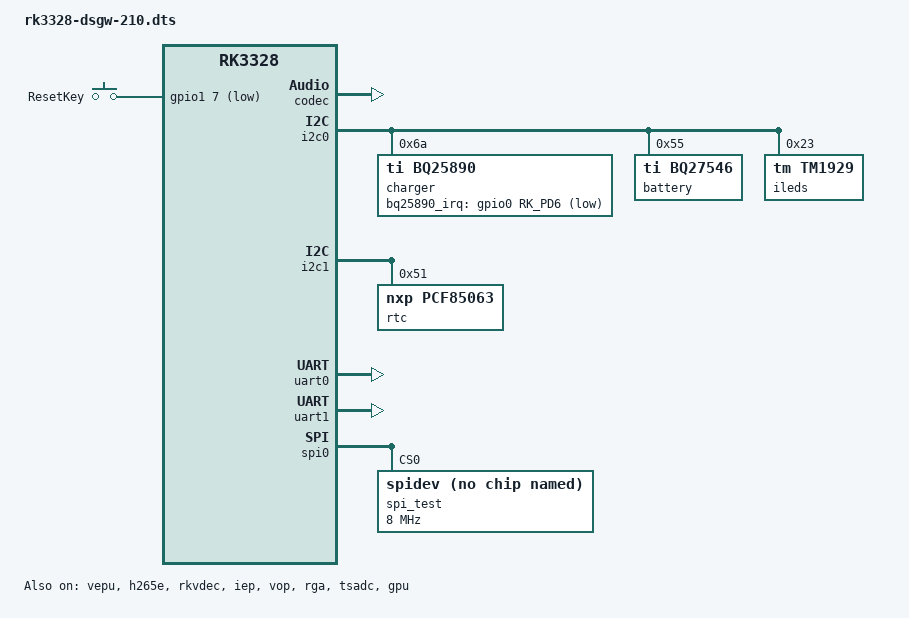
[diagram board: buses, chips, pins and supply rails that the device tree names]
#include "rk3328-evb.dts"

/ {
	chosen {
		bootargs = "rockchip_jtag earlyprintk=uart8250-32bit,0xff130000 swiotlb=1 kpti=0 console=ttyFIQ0 rw root=PARTUUID=614e0000-0000 rootfstype=ext4 rootwait systemd.gpt_auto=0 systemd.unified_cgroup_hierarchy=0 apparmor=1 security=apparmor lsm=lockdown,yama,apparmor";
	};

	/*
            5v_en {
                    compatible = "5v-en-gpio";
    //                3v3_power_en = <&gpio2 RK_PD2 GPIO_ACTIVE_HIGH>;
                    usb_5v_en = <&gpio3 RK_PA5 GPIO_ACTIVE_HIGH>;
                    usb_en = <&gpio3 RK_PA7 GPIO_ACTIVE_HIGH>;
                    hub_rst = <&gpio2 RK_PA3 GPIO_ACTIVE_HIGH>;
                    fan_open = <&gpio2 RK_PC4 GPIO_ACTIVE_HIGH>;
                    rp_not_deep_leep = <1>;
                    status = "okay";
            };
    */
	rp_gpio{
		status = "okay";
		compatible = "rp_gpio";
		/*
                        gpio0a0 {
                                gpio_num = <&gpio0 RK_PA0 GPIO_ACTIVE_LOW>;
                                gpio_function = <0>;            //0:output 1:input
                        };
        */
		gpio0a2 {
			gpio_num = <&gpio0 RK_PA2 GPIO_ACTIVE_HIGH>;
			gpio_function = <0>;            //0:output 1:input
		};

		// wifi power pin
		gpio1c2 {
			gpio_num = <&gpio1 RK_PC2 GPIO_ACTIVE_HIGH>;
			gpio_function = <0>;            //0:output 1:input
		};

		gpio1d1 {
			gpio_num = <&gpio1 RK_PD1 GPIO_ACTIVE_HIGH>;
			gpio_function = <0>;            //0:output 1:input
		};
		/*
                        gpioi0d6 {
                                gpio_num = <&gpio0 RK_PD6 GPIO_ACTIVE_LOW>;
                                gpio_function = <0>;            //0:output 1:input
                        };
        */
		/*
                        led {
                                gpio_num = <&gpio2 RK_PC5 GPIO_ACTIVE_HIGH>;
                                gpio_function = <3>;            //0:output 1:input
                        };
                        gpio2b7 {
                                gpio_num = <&gpio2 RK_PB7 GPIO_ACTIVE_HIGH>;
                                gpio_function = <0>;            //0:output 1:input
                        };
                        gpio2c2 {
                                gpio_num = <&gpio2 RK_PC2 GPIO_ACTIVE_HIGH>;
                                gpio_function = <0>;            //0:output 1:input
                        };
                        gpio2c1 {
                                gpio_num = <&gpio2 RK_PC1 GPIO_ACTIVE_HIGH>;
                                gpio_function = <0>;            //0:output 1:input
                        };
                        gpio2c0 {
                                gpio_num = <&gpio2 RK_PC0 GPIO_ACTIVE_HIGH>;
                                gpio_function = <0>;            //0:output 1:input
                        };
                        gpio2c7 {
                                gpio_num = <&gpio2 RK_PC7 GPIO_ACTIVE_HIGH>;
                                gpio_function = <0>;            //0:output 1:input
                        };
                        gpio2c6 {
                                gpio_num = <&gpio2 RK_PC6 GPIO_ACTIVE_HIGH>;
                                gpio_function = <0>;            //0:output 1:input
                        };
                        gpio2c3 {
                                gpio_num = <&gpio2 RK_PC3 GPIO_ACTIVE_HIGH>;
                                gpio_function = <0>;            //0:output 1:input
                                //gpio_event = <KEY_F14>;
                                //send_mode = <0>;
                        };
        */
	};
	/*
            sdpw:gpio-leds{
            compatible = "gpio-leds";

                    sdpower {
                gpios = <&gpio0 30 GPIO_ACTIVE_LOW>;
                label = "sdpower";
                default-state = "on";
            };
            };
    */

	keys: gpio-keys {
		compatible = "gpio-keys";

		button@0 {
			gpio-key,wakeup = <1>;
			gpios = <&gpio1 7 GPIO_ACTIVE_LOW>;
			label = "ResetKey";
			linux,code = <100>;
		};

		/*
                button@1 {
                    gpio-key,wakeup = <1>;
                    gpios = <&gpio3 0 GPIO_ACTIVE_LOW>;
                    label = "UserKey";
                    linux,code = <101>;
                    };
        */

	};

	/*
            rockchip_audio: rockchip_audio {
                    compatible = "rockchip,rk322xh-audio", "rockchip,rk322x-audio";
                    dais {
                            dai0 {
                                    audio-codec = <&codec>;
                                    audio-controller = <&i2s1>;
                                    format = "i2s";
                            };
                    };
            };

            hdmi-sound {
                    compatible = "simple-audio-card";
                    simple-audio-card,format = "i2s";
                    simple-audio-card,mclk-fs = <128>;
                    simple-audio-card,name = "rockchip,hdmi";
                    simple-audio-card,cpu {
                            sound-dai = <&i2s0>;
                    };
                    simple-audio-card,codec {
                            sound-dai = <&hdmi>;
                    };
            };

            spdif-sound {
              status = "disabled";
                    compatible = "simple-audio-card";
                    simple-audio-card,name = "rockchip,spdif";
                    simple-audio-card,cpu {
                            sound-dai = <&spdif>;
                    };
                    simple-audio-card,codec {
                            sound-dai = <&spdif_out>;
                    };
            };

            spdif_out: spdif-out {
              status = "disabled";
                    compatible = "linux,spdif-dit";
                    #sound-dai-cells = <0>;
            };

            sound {
                    compatible = "simple-audio-card";
                    simple-audio-card,format = "i2s";
                    simple-audio-card,mclk-fs = <256>;
                    simple-audio-card,name = "rockchip,rk3328";
                    simple-audio-card,cpu {
                            sound-dai = <&i2s1>;
                    };
                    simple-audio-card,codec {
                            sound-dai = <&codec>;
                    };
            };
    */

};

/*
&spdif {
        #sound-dai-cells = <0>;
        status = "disabled";
};
*/

&codec {
	rk3328-codec-hp-gpiomute;
	#sound-dai-cells = <0>;
	status = "okay";
};

&i2c0 {
	status = "okay";
	charger: bq25895@6A {
		compatible = "ti,bq25890";
		reg = <0x6A>;
		bq25890_irq-gpios = <&gpio0 RK_PD6 GPIO_ACTIVE_LOW>;

		ti,battery-regulation-voltage = <4256000>;
		ti,charge-current = <1088000>;
		ti,termination-current = <128000>;
		ti,precharge-current = <128000>;
		ti,minimum-sys-voltage = <3000000>;
		ti,boost-voltage = <5126000>;
		ti,boost-max-current = <1400000>;

		ti,use-ilim-pin;
		ti,thermal-regulation-threshold = <100>;
	};
	battery: bq27546@55 {
		compatible = "ti,bq27546";
		reg = <0x55>;
	};
	/*
        tm1929@23 {
            status = "okay";
            compatible = "";
            reg = <0x23>;
        };
    */

	ileds: i2c-leds {
		compatible = "tm,tm1929";
		reg = <0x23>;
		/* clock-mode = /bits/ 8 <0>; */ /* LP55XX_CLOCK_AUTO */
		/* enable-gpio = <&gpio2 9 GPIO_ACTIVE_HIGH>; */ /* 41 */
		status = "okay";
		lable = "tm1929";
		led0g {
			chan-name = "led0:green";
			led-cur = /bits/ 8 <50>;
			max-cur = /bits/ 8 <100>;
			linux,default-trigger = "none";
		};
		led0b {
			chan-name = "led0:blue";
			led-cur = /bits/ 8 <50>;
			max-cur = /bits/ 8 <100>;
			linux,default-trigger = "none";
		};
		led0r {
			chan-name = "led0:red";
			led-cur = /bits/ 8 <50>;
			max-cur = /bits/ 8 <100>;
			linux,default-trigger = "none";
		};
		led1g {
			chan-name = "led1:green";
			led-cur = /bits/ 8 <50>;
			max-cur = /bits/ 8 <100>;
			linux,default-trigger = "none";
		};
		led1b {
			chan-name = "led1:blue";
			led-cur = /bits/ 8 <50>;
			max-cur = /bits/ 8 <100>;
			linux,default-trigger = "none";
		};
		led1r {
			chan-name = "led1:red";
			led-cur = /bits/ 8 <50>;
			max-cur = /bits/ 8 <100>;
			linux,default-trigger = "none";
		};
		led2g {
			chan-name = "led2:green";
			led-cur = /bits/ 8 <50>;
			max-cur = /bits/ 8 <100>;
			linux,default-trigger = "none";
		};
		led2b {
			chan-name = "led2:blue";
			led-cur = /bits/ 8 <50>;
			max-cur = /bits/ 8 <100>;
			linux,default-trigger = "none";
		};
		led2r {
			chan-name = "led2:red";
			led-cur = /bits/ 8 <50>;
			max-cur = /bits/ 8 <100>;
			linux,default-trigger = "none";
		};
		led3r {
			chan-name = "led3:red";
			led-cur = /bits/ 8 <50>;
			max-cur = /bits/ 8 <100>;
			linux,default-trigger = "none";
		};
		led3b {
			chan-name = "led3:blue";
			led-cur = /bits/ 8 <50>;
			max-cur = /bits/ 8 <100>;
			linux,default-trigger = "none";
		};
		led3g {
			chan-name = "led3:green";
			led-cur = /bits/ 8 <50>;
			max-cur = /bits/ 8 <100>;
			linux,default-trigger = "none";
		};
		led4r {
			chan-name = "led5:red";
			led-cur = /bits/ 8 <50>;
			max-cur = /bits/ 8 <100>;
			linux,default-trigger = "none";
		};
		led4b {
			chan-name = "led5:blue";
			led-cur = /bits/ 8 <50>;
			max-cur = /bits/ 8 <100>;
			linux,default-trigger = "none";
		};
		led4g {
			chan-name = "led5:green";
			led-cur = /bits/ 8 <50>;
			max-cur = /bits/ 8 <100>;
			linux,default-trigger = "none";
		};
		led5r {
			chan-name = "led4:red";
			led-cur = /bits/ 8 <50>;
			max-cur = /bits/ 8 <100>;
			linux,default-trigger = "none";
		};
		led5b {
			chan-name = "led4:blue";
			led-cur = /bits/ 8 <50>;
			max-cur = /bits/ 8 <100>;
			linux,default-trigger = "none";
		};
		led5g {
			chan-name = "led4:green";
			led-cur = /bits/ 8 <50>;
			max-cur = /bits/ 8 <100>;
			linux,default-trigger = "none";
		};
	};
};


&i2c1 {
	status = "okay";
	rtc@51 {
		status = "okay";
		compatible = "nxp,pcf85063";
		reg = <0x51>;
	};
};



&uart0 {
	pinctrl-names = "default";
	pinctrl-0 = <&uart0_xfer &uart0_cts &uart0_rts>;
	status = "okay";
};

&uart1 {
	status = "okay";
};


/* pwj, user mode SPI */
&spi0 {
	status = "okay";
	max-frequency = <24000000>;
	spi_test@00 {
		compatible ="rockchip,spidev";
		reg = <0>;
		spi-max-frequency = <8000000>;  /* lora SX1302 max tSCK 100ns, i.e. 10000000 */
	};
};


/*
&hdmi {
        status = "okay";
        rockchip,phy_table =
                <165000000 0 0 7 8 8 8>,
                <340000000 8 13 11 13 13 13>,
                <594000000 8 0 16 26 26 26>;
};

*/


&vepu {
	status = "okay";
};


&h265e {
	status = "okay";
};

&rkvdec {
	status = "okay";
};

&iep {
	status = "okay";
};


&vop {
	status = "okay";
};

&rga {
	status = "okay";
};

&tsadc {
	status = "okay";
};

&gpu {
	status = "okay";
};
